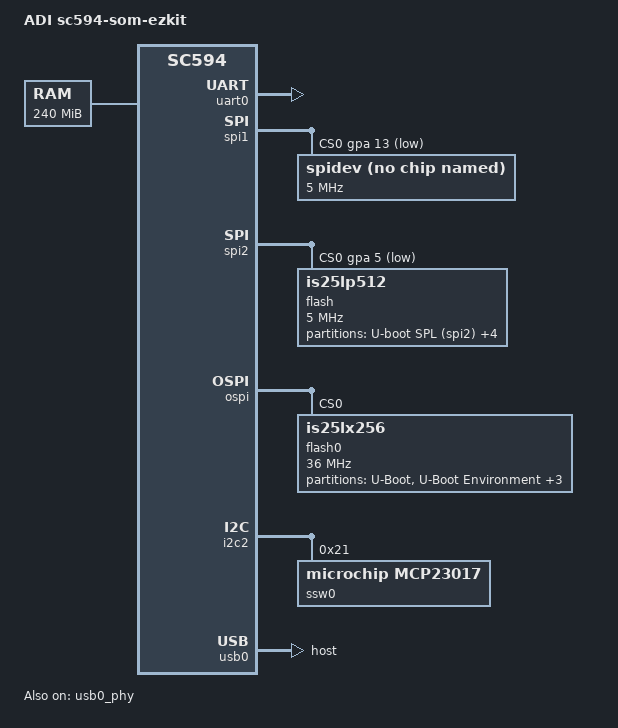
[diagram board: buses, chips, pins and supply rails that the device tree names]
/*
 * Device tree for ADI sc594-som-ezkit board
 *
 * Copyright 2014 - 2020 Analog Devices Inc.
 *
 * Licensed under the GPL-2 or later.
 *
 */

/dts-v1/;

#include <dt-bindings/gpio/gpio.h>
#include <dt-bindings/pinctrl/adi-adsp.h>
#include <dt-bindings/pinctrl/adi-adsp-sru.h>
#include <dt-bindings/net/ti-dp83867.h>
#include "sc59x.dtsi"

/ {
	model = "ADI sc594-som-ezkit";
	compatible = "adi,sc594-som-ezkit", "adi,sc59x";

	aliases {
	};

	memory@C3000000 {
		device_type = "memory";
		reg = <0xC3000000 0xF000000>;
	};

	reserved-memory {
		vdev0vrings: vdev0vring0@20080000 {
			reg = <0x20080000 0x4000>;
			no-map;
		};

		vdev0buffer: vdev0buffer@20084000 {
			compatible = "shared-dma-pool";
			reg = <0x20084000 0x20000>;
			no-map;
		};

		vdev1vrings: vdev0vring0@200A4000 {
			reg = <0x200A4000 0x4000>;
			no-map;
		};

		vdev1buffer: vdev0buffer@200A8000 {
			compatible = "shared-dma-pool";
			reg = <0x200A8000 0x20000>;
			no-map;
		};
	};

	scb {

/* The button GPIO conflicts with OSPI0_D4 for this
		button0: button@0 {
			compatible = "adi,button-led";
			button_gpio = <48>; /* PD_00
			led_gpio = <35>; /* PC_03 / LED9 / LED1_KIT
		};
*/

/* This also appears to interfere with the OSPI somehow...
   possible trace noise/interference?
		button1: button@1 {
			compatible = "adi,button-led";
			button_gpio = <112>; /* PH_00
			led_gpio = <34>; /* PC_02 / LED8 / LED2_KIT
		};
*/

		sharc0: core1-rproc@0x28240000 {
			compatible = "adi,remoteproc";
			reg = <0x28240000 0x160000>,
					<0x20000000 0x200000>;
			core-id = <1>;
			core-irq = <74>; /* SOFT1 */
			firmware-name = "adi_adsp_core1_fw.ldr";
			interrupts = <GIC_SPI 165 IRQ_TYPE_EDGE_RISING>; /* TRU0_SLV3 */
			adi,rcu = <&rcu>;
			adi,l1-da = <0x240000 0x3a0000>;
			adi,l2-da = <0x20000000 0x20200000>;
			adi,rsc-table = <&rsc_tbl0>;
			adi,verify = <1>;
			adi,tru = <&tru>;
			adi,tru-master-id = <140>; /* trigger master SOFT4 */
			status = "okay";
		};

		sharc1: core2-rproc@0x28a40000 {
			compatible = "adi,remoteproc";
			reg = <0x28a40000 0x160000>,
					<0x20000000 0x200000>;
			core-id = <2>;
			core-irq = <75>; /* SOFT2 */
			firmware-name = "adi_adsp_core2_fw.ldr";
			interrupts = <GIC_SPI 165 IRQ_TYPE_EDGE_RISING>; /* TRU0_SLV3 */
			adi,rcu = <&rcu>;
			adi,l1-da = <0x240000 0x3a0000>;
			adi,l2-da = <0x20000000 0x20200000>;
			adi,rsc-table = <&rsc_tbl1>;
			adi,verify = <1>;
			adi,tru = <&tru>;
			adi,tru-master-id = <141>; /* trigger master SOFT5 */
			status = "okay";
		};

	};
};

&uart0 {
	pinctrl-names = "default";
	pinctrl-0 = <&uart0_default>;
	status = "okay";
};

&rtc0 {
	status = "disabled";
};

&spi0 {
	pinctrl-names = "default";
	pinctrl-0 = <&spi0_default>;
	status = "disabled";

	cs-gpios = <&gpc 12 GPIO_ACTIVE_LOW>,
				<&gpc 0 GPIO_ACTIVE_LOW>;

	spidev@0 {
		#address-cells = <1>;
		#size-cells = <1>;
		compatible = "rohm,dh2228fv";
		spi-max-frequency = <5000000>;
		reg = <0>;
	};

	ad7879_touchscreen@1 {
		#address-cells = <1>;
		#size-cells = <1>;
		compatible = "adi,ad7879";
		spi-max-frequency = <5000000>;
		reg = <1>;
		gpio = <88>;
		gpio-controller;
		spi-cpha;
		spi-cpol;
		touchscreen-max-pressure = <10000>;
		adi,resistance-plate-x = <620>;
		adi,first-conversion-delay = /bits/ 8 <3>;
		adi,acquisition-time = /bits/ 8 <1>;
		adi,median-filter-size = /bits/ 8 <2>;
		adi,averaging = /bits/ 8 <1>;
		adi,conversion-interval = /bits/ 8 <255>;
	};
};

&spi1 {
	pinctrl-names = "default";
	pinctrl-0 = <&spi1_default>;
	status = "okay";

	cs-gpios = <&gpa 13 GPIO_ACTIVE_LOW>;

	spidev@0{
		compatible = "rohm,dh2228fv";
		spi-max-frequency = <5000000>;
		reg = <0>;
	};
};

&spi2 {
	pinctrl-names = "default";
	pinctrl-0 = <&spi2_quad>;
	status = "okay";

	cs-gpios = <&gpa 5 GPIO_ACTIVE_LOW>;

	flash: is25lp512@0 {
		#address-cells = <1>;
		#size-cells = <1>;
		compatible = "is25lp512", "jedec,spi-nor";
		spi-max-frequency = <5000000>;
		reg = <0>;
		spi-cpol;
		spi-cpha;
		spi-rx-bus-width = <4>;
		/*adi,enable-dma;*/

		spi2_0: partition@0 {
			label = "U-boot SPL (spi2)";
			reg = <0x0 0x20000>;
		};

		spi2_1: partition@1 {
			label = "U-boot proper (spi2)";
			reg = <0x20000 0xc0000>;
		};

		spi2_2: partition@2 {
			label = "U-boot env (spi2)";
			reg = <0xe0000 0x20000>;
		};

		spi2_3: partition@3 {
			label = "Kernel FIT (spi2)";
			reg = <0x100000 0x800000>;
		};

		spi2_4: partition@4 {
			label = "JFFS2 Formatted RFS (spi2)";
			reg = <0x0900000 0x3700000>;
		};

	};

};

&ospi {
	pinctrl-names = "default";
	pinctrl-0 = <&ospi_default>;

	status = "okay";

	flash0: is25lx256@0 {
		#address-cells = <1>;
		#size-cells = <1>;
		compatible = "is25lx256";
		reg = <0>;

		/* Adjust as needed, depends on board signal integrity
		    -- I was seeing issues with data writes at faster speeds */
		spi-max-frequency = <36000000>;

		/*m25p,fast-read;*/

		cdns,page-size = <256>;
		cdns,block-size = <16>;
		cdns,read-delay = <4>;
		cdns,tshsl-ns = <50>;
		cdns,tsd2d-ns = <50>;
		cdns,tchsh-ns = <4>;
		cdns,tslch-ns = <4>;

		partitions {
			compatible = "fixed-partitions";
			#address-cells = <1>;
			#size-cells = <1>;

			ospi_0: partition@0 {
				label = "U-Boot";
				reg = <0x0 0x80000>;
			};

			ospi_1: partition@1 {
				label = "U-Boot Environment";
				reg = <0x80000 0x20000>;
			};

			ospi_2: partition@2 {
				label = "Device Tree Blob";
				reg = <0xA0000 0x20000>;
			};

			ospi_3: partition@3 {
				label = "Kernel zImage";
				reg = <0xC0000 0x600000>;
			};

			ospi_4: partition@4 {
				label = "JFFS2 Formatted RFS";
				reg = <0x0900000 0x1700000>;
			};
		};
	};
};

&i2c0 {
	status = "disabled";
};

&i2c1 {
	status = "disabled";
};

&i2c2 {
	status = "okay";

	ssw0: gpio@0x21 {
		compatible = "microchip,mcp23017";
		gpio-controller;
		#gpio-cells = <2>;
		reg = <0x21>;

		led1 {
			gpio-hog;
			gpios = <0 0x0>;
			output-high;
			line-name = "led1-en";
		};

		led2 {
			gpio-hog;
			gpios = <1 0x0>;
			output-high;
			line-name = "led2-en";
		};

		led3 {
			gpio-hog;
			gpios = <2 0x0>;
			output-high;
			line-name = "led3-en";
		};

		spi2flash-cs {
			gpio-hog;
			gpios = <3 0x0>;
			output-low;
			line-name = "~spi2flash-cs";
		};

		spi2d2-d3 {
			gpio-hog;
			gpios = <4 0x0>;
			output-low;
			line-name = "~spi2d2-d3-en";
		};

		uart0 {
			gpio-hog;
			gpios = <5 0x0>;
			output-low;
			line-name = "~uart0-en";
		};

		uart0-flow-en {
			gpio-hog;
			gpios = <6 0x0>;
			output-high;
			line-name = "~uart0-flow-en";
		};

		ospiflash-cs {
			gpio-hog;
			gpios = <7 0x0>;
			output-low;
			line-name = "~ospiflash-cs";
		};
	};
};

&crc0 {
	status = "disabled";
};

&crc1 {
	status = "disabled";
};

&usb0_phy {
	reset-gpios = <&gpg 11 GPIO_ACTIVE_LOW>;
	status = "okay";
};

&usb0 {
	dr_mode = "host";
	pinctrl-names = "default";
	pinctrl-0 = <&usbc0_default>;
	status = "okay";
};

&mmc0 {
	/* wp-en-pin = <&ssw0 ? GPIO_ACTIVE_LOW>;	 SD_WP_EN */
	bus-width = <4>;
	pinctrl-names = "default";
	pinctrl-0 = <&mmc0_8bgrp>;
	supports-highspeed;
	status = "disabled";
};

/*
&video_decoder {
	pinctrl-names = "8bit", "16bit", "24bit";
	pinctrl-0 = <&ppi0_8b>;
	pinctrl-1 = <&ppi0_16b>;
	pinctrl-2 = <&ppi0_24b>;
	status = "disabled";
};

&video_encoder {
	pinctrl-names = "8bit", "16bit", "24bit";
	pinctrl-0 = <&ppi0_8b>;
	pinctrl-1 = <&ppi0_16b>;
	pinctrl-2 = <&ppi0_24b>;
	status = "disabled";
};
*/


/*
&lp0 {
	pinctrl-names = "default";
	pinctrl-0 = <&lp0_default>;
	status = "okay";
};

&lp1 {
	pinctrl-names = "default";
	pinctrl-0 = <&lp1_default>;
	status = "okay";
};
*/

&sram_mmap {
	status = "disabled";
};

&pinctrl0 {
	uart0_default: uart0_default_pins {
		pins {
			pinmux = <ADI_ADSP_PINMUX('A', 6, ADI_ADSP_PINFUNC_ALT1)>,
					 <ADI_ADSP_PINMUX('A', 7, ADI_ADSP_PINFUNC_ALT1)>;
		};
	};
	uart0_hwflow: uart0_hwflow_pins {
		pins {
			pinmux = <ADI_ADSP_PINMUX('A', 6, ADI_ADSP_PINFUNC_ALT1)>,
					 <ADI_ADSP_PINMUX('A', 7, ADI_ADSP_PINFUNC_ALT1)>,
					 <ADI_ADSP_PINMUX('A', 8, ADI_ADSP_PINFUNC_ALT1)>,
					 <ADI_ADSP_PINMUX('A', 9, ADI_ADSP_PINFUNC_ALT1)>;
		};
	};
	spi0_default: spi0_default_pins {
		pins {
			pinmux = <ADI_ADSP_PINMUX('A', 6, ADI_ADSP_PINFUNC_ALT0)>,
				 <ADI_ADSP_PINMUX('A', 7, ADI_ADSP_PINFUNC_ALT0)>,
					 <ADI_ADSP_PINMUX('A', 8, ADI_ADSP_PINFUNC_ALT0)>;
		};
	};
	spi1_default: spi1_default_pins {
		pins {
			pinmux = <ADI_ADSP_PINMUX('A', 10, ADI_ADSP_PINFUNC_ALT1)>,
				 <ADI_ADSP_PINMUX('A', 11, ADI_ADSP_PINFUNC_ALT1)>,
					 <ADI_ADSP_PINMUX('A', 12, ADI_ADSP_PINFUNC_ALT1)>;
		};
	};
	spi2_quad: spi2_quad_pins {
		pins {
			pinmux = <ADI_ADSP_PINMUX('A', 0, ADI_ADSP_PINFUNC_ALT0)>,
				 <ADI_ADSP_PINMUX('A', 1, ADI_ADSP_PINFUNC_ALT0)>,
				 <ADI_ADSP_PINMUX('A', 2, ADI_ADSP_PINFUNC_ALT0)>,
				 <ADI_ADSP_PINMUX('A', 3, ADI_ADSP_PINFUNC_ALT0)>,
					 <ADI_ADSP_PINMUX('A', 4, ADI_ADSP_PINFUNC_ALT0)>;
		};
	};
	ospi_default: ospi_default_pins {
		pins {
			pinmux = <ADI_ADSP_PINMUX('C', 8, ADI_ADSP_PINFUNC_ALT0)>,
				 <ADI_ADSP_PINMUX('C', 9, ADI_ADSP_PINFUNC_ALT0)>,
				 <ADI_ADSP_PINMUX('C', 10, ADI_ADSP_PINFUNC_ALT0)>,
				 <ADI_ADSP_PINMUX('C', 11, ADI_ADSP_PINFUNC_ALT0)>,
				 <ADI_ADSP_PINMUX('C', 12, ADI_ADSP_PINFUNC_ALT0)>,
				 <ADI_ADSP_PINMUX('C', 13, ADI_ADSP_PINFUNC_ALT0)>,
				 <ADI_ADSP_PINMUX('C', 14, ADI_ADSP_PINFUNC_ALT0)>,
				 <ADI_ADSP_PINMUX('C', 15, ADI_ADSP_PINFUNC_ALT0)>,
				 <ADI_ADSP_PINMUX('D', 0, ADI_ADSP_PINFUNC_ALT0)>,
				 <ADI_ADSP_PINMUX('D', 1, ADI_ADSP_PINFUNC_ALT0)>,
				 <ADI_ADSP_PINMUX('D', 4, ADI_ADSP_PINFUNC_ALT2)>;
		};
	};
	i2c2_pins: i2c2_default_pins {
		pins {
			pinmux = <ADI_ADSP_PINMUX('A', 14, ADI_ADSP_PINFUNC_ALT0)>,
				 <ADI_ADSP_PINMUX('A', 15, ADI_ADSP_PINFUNC_ALT0)>;
		};
	};
	eth0_default: eth0_default_pins {
		pins {
			pinmux = <ADI_ADSP_PINMUX('H', 3, ADI_ADSP_PINFUNC_ALT0)>,
				 <ADI_ADSP_PINMUX('H', 4, ADI_ADSP_PINFUNC_ALT0)>,
				 <ADI_ADSP_PINMUX('H', 5, ADI_ADSP_PINFUNC_ALT0)>,
				 <ADI_ADSP_PINMUX('H', 6, ADI_ADSP_PINFUNC_ALT0)>,
				 <ADI_ADSP_PINMUX('H', 7, ADI_ADSP_PINFUNC_ALT0)>,
				 <ADI_ADSP_PINMUX('H', 8, ADI_ADSP_PINFUNC_ALT0)>,
				 <ADI_ADSP_PINMUX('H', 9, ADI_ADSP_PINFUNC_ALT0)>,
				 <ADI_ADSP_PINMUX('H', 10, ADI_ADSP_PINFUNC_ALT0)>,
				 <ADI_ADSP_PINMUX('H', 11, ADI_ADSP_PINFUNC_ALT0)>,
				 <ADI_ADSP_PINMUX('H', 12, ADI_ADSP_PINFUNC_ALT0)>,
				 <ADI_ADSP_PINMUX('H', 13, ADI_ADSP_PINFUNC_ALT0)>,
				 <ADI_ADSP_PINMUX('H', 14, ADI_ADSP_PINFUNC_ALT0)>,
				 <ADI_ADSP_PINMUX('H', 15, ADI_ADSP_PINFUNC_ALT0)>,
				 <ADI_ADSP_PINMUX('I', 0, ADI_ADSP_PINFUNC_ALT0)>;
		};
	};
	eth1_default: eth1_default_pins {
		pins {
			pinmux = <ADI_ADSP_PINMUX('E', 11, ADI_ADSP_PINFUNC_ALT0)>,
				 <ADI_ADSP_PINMUX('E', 12, ADI_ADSP_PINFUNC_ALT0)>,
				 <ADI_ADSP_PINMUX('E', 13, ADI_ADSP_PINFUNC_ALT0)>,
				 <ADI_ADSP_PINMUX('E', 14, ADI_ADSP_PINFUNC_ALT0)>,
				 <ADI_ADSP_PINMUX('E', 15, ADI_ADSP_PINFUNC_ALT0)>,
				 <ADI_ADSP_PINMUX('F', 0, ADI_ADSP_PINFUNC_ALT0)>,
				 <ADI_ADSP_PINMUX('F', 1, ADI_ADSP_PINFUNC_ALT0)>,
				 <ADI_ADSP_PINMUX('F', 2, ADI_ADSP_PINFUNC_ALT0)>,
				 <ADI_ADSP_PINMUX('F', 3, ADI_ADSP_PINFUNC_ALT0)>;
		};
	};
	mmc0_8bgrp: mmc0_8bgrp_pins {
		pins {
			pinmux = <ADI_ADSP_PINMUX('F', 2, ADI_ADSP_PINFUNC_ALT0)>,
				 <ADI_ADSP_PINMUX('F', 3, ADI_ADSP_PINFUNC_ALT0)>,
				 <ADI_ADSP_PINMUX('F', 4, ADI_ADSP_PINFUNC_ALT0)>,
				 <ADI_ADSP_PINMUX('F', 5, ADI_ADSP_PINFUNC_ALT0)>,
				 <ADI_ADSP_PINMUX('F', 6, ADI_ADSP_PINFUNC_ALT0)>,
				 <ADI_ADSP_PINMUX('F', 7, ADI_ADSP_PINFUNC_ALT0)>,
				 <ADI_ADSP_PINMUX('F', 8, ADI_ADSP_PINFUNC_ALT0)>,
				 <ADI_ADSP_PINMUX('F', 9, ADI_ADSP_PINFUNC_ALT0)>,
				 <ADI_ADSP_PINMUX('F', 10, ADI_ADSP_PINFUNC_ALT0)>,
				 <ADI_ADSP_PINMUX('F', 11, ADI_ADSP_PINFUNC_ALT0)>,
				 <ADI_ADSP_PINMUX('F', 12, ADI_ADSP_PINFUNC_ALT0)>;
		};
	};
	usbc0_default: usbc0_default_pins {
		pins {
			pinmux = <ADI_ADSP_PINMUX('F', 3, ADI_ADSP_PINFUNC_ALT2)>,
				 <ADI_ADSP_PINMUX('F', 4, ADI_ADSP_PINFUNC_ALT2)>,
				 <ADI_ADSP_PINMUX('F', 5, ADI_ADSP_PINFUNC_ALT2)>,
				 <ADI_ADSP_PINMUX('F', 6, ADI_ADSP_PINFUNC_ALT2)>,
				 <ADI_ADSP_PINMUX('F', 7, ADI_ADSP_PINFUNC_ALT2)>,
				 <ADI_ADSP_PINMUX('F', 8, ADI_ADSP_PINFUNC_ALT2)>,
				 <ADI_ADSP_PINMUX('F', 9, ADI_ADSP_PINFUNC_ALT2)>,
				 <ADI_ADSP_PINMUX('F', 10, ADI_ADSP_PINFUNC_ALT2)>,
				 <ADI_ADSP_PINMUX('F', 11, ADI_ADSP_PINFUNC_ALT2)>,
				 <ADI_ADSP_PINMUX('F', 12, ADI_ADSP_PINFUNC_ALT2)>,
				 <ADI_ADSP_PINMUX('F', 13, ADI_ADSP_PINFUNC_ALT2)>,
				 <ADI_ADSP_PINMUX('F', 14, ADI_ADSP_PINFUNC_ALT2)>;
		};
	};
};

&tru {
	rpmsg_to_a55: channel@0 {
		adi,tru-master-id = <139>; /* trigger master SOFT3 */
		adi,tru-slave-id = <160>; /* TRU0_IRQ3 */
	};
	rpmsg_to_sharc0: channel@1 {
		adi,tru-master-id = <140>; /* trigger master SOFT4 */
		adi,tru-slave-id = <164>; /* TRU0_IRQ7 */
	};
	rpmsg_to_sharc1: channel@2 {
		adi,tru-master-id = <141>; /* trigger master SOFT5 */
		adi,tru-slave-id = <168>; /* TRU0_IRQ11 */
	};
};
